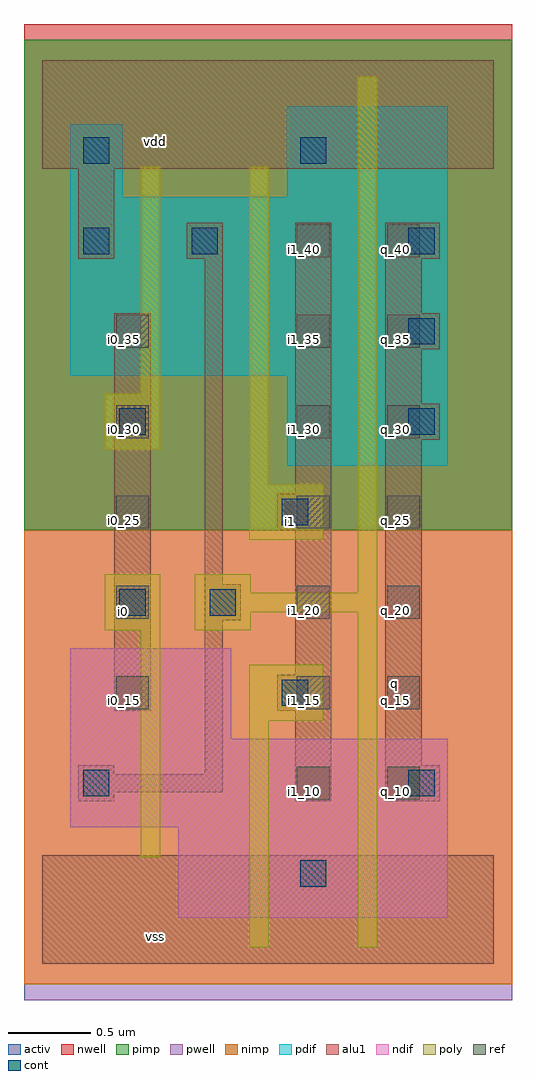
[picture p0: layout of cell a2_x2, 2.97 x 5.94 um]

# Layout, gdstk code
import gdstk
lib = gdstk.Library(unit=1e-6, precision=2.5e-09)
def R(c, l, rs):  # rectangles x0, y0, x1, y1
    for r in rs: c.add(gdstk.rectangle(r[:2], r[2:], *l))
def A(c, l, x, y, w, h, nx, ny, dx, dy):  # array of equal rectangles
    R(c, l, [(x+i*dx, y+j*dy, x+i*dx+w, y+j*dy+h) for i in range(nx) for j in range(ny)])
ndif = (3, 0)
pdif = (4, 0)
ref = (24, 0)
cont = (25, 0)
pwell = (41, 0)
nwell = (42, 0)
activ = (43, 0)
pimp = (44, 0)
nimp = (45, 0)
poly = (46, 0)
alu1 = (49, 0)

a2_x2 = lib.new_cell('a2_x2')
R(a2_x2, ndif, [(0.83,0.28,2.47,0.83), (0.83,0.28,2.47,0.83), (0.17,0.83,2.47,1.37), (0.17,0.83,2.47,1.37), (0.17,1.37,1.15,1.92), (0.17,1.37,1.15,1.92)])
R(a2_x2, pdif, [(1.49,3.03,2.47,3.58), (1.49,3.03,2.47,3.58), (0.17,3.58,2.47,4.67), (0.17,3.58,2.47,4.67), (0.17,4.67,0.49,5.11), (0.17,4.67,0.49,5.11), (1.49,4.67,2.47,5.22), (1.49,4.67,2.47,5.22)])
A(a2_x2, ref, 1.55, 1, 0.2, 0.2, 1, 7, 0, 0.55)
A(a2_x2, ref, 2.1, 1, 0.2, 0.2, 1, 7, 0, 0.55)
A(a2_x2, ref, 0.45, 1.55, 0.2, 0.2, 1, 5, 0, 0.55)
A(a2_x2, cont, 2.23, 3.22, 0.16, 0.16, 1, 3, 0, 0.55)
R(a2_x2, cont, [(1.57,0.47,1.73,0.63), (0.25,1.02,0.41,1.18), (2.23,1.02,2.39,1.18), (1.46,1.57,1.62,1.73), (0.47,2.12,0.63,2.28), (1.02,2.12,1.18,2.28), (1.46,2.67,1.62,2.83), (0.47,3.22,0.63,3.38), (0.25,4.32,0.41,4.48), (0.91,4.32,1.07,4.48), (0.25,4.87,0.41,5.03), (1.57,4.87,1.73,5.03)])
R(a2_x2, pwell, [(-0.11,-0.22,2.86,2.64)])
R(a2_x2, nwell, [(-0.11,2.64,2.86,5.72)])
R(a2_x2, activ, [(0.83,0.28,2.47,0.83), (0.83,0.28,2.47,0.83), (0.17,0.83,2.47,1.37), (0.17,0.83,2.47,1.37), (0.17,1.37,1.15,1.92), (0.17,1.37,1.15,1.92), (1.49,3.03,2.47,3.58), (1.49,3.03,2.47,3.58), (0.17,3.58,2.47,4.67), (0.17,3.58,2.47,4.67), (0.17,4.67,0.49,5.11), (0.17,4.67,0.49,5.11), (1.49,4.67,2.47,5.22), (1.49,4.67,2.47,5.22)])
R(a2_x2, pimp, [(-0.11,2.64,2.86,5.625)])
R(a2_x2, nimp, [(-0.11,-0.125,2.86,2.64)])
R(a2_x2, poly, [(1.26,0.1,1.38,1.48), (1.92,0.1,2.04,2.14), (0.6,0.65,0.72,2.03), (1.26,1.48,1.71,1.82), (0.38,2.03,0.72,2.37), (0.93,2.03,1.27,2.14), (0.93,2.14,2.04,2.26), (0.93,2.26,1.27,2.37), (1.92,2.26,2.04,5.4), (1.26,2.58,1.71,2.92), (1.26,2.92,1.38,4.85), (0.38,3.13,0.72,3.47), (0.6,3.47,0.72,4.85)])
A(a2_x2, alu1, 2.09, 3.19, 0.33, 0.22, 1, 3, 0, 0.55)
R(a2_x2, alu1, [(0,0,2.75,0.66), (0.22,0.99,0.44,1.045), (1.54,0.99,1.76,1.54), (2.09,0.99,2.42,1.21), (0.22,1.045,1.1,1.155), (0.22,1.155,0.44,1.21), (0.99,1.155,1.1,2.09), (2.09,1.21,2.31,3.19), (0.44,1.54,0.66,3.96), (1.43,1.54,1.76,1.76), (1.54,1.76,1.76,2.64), (0.99,2.09,1.21,2.31), (0.99,2.31,1.1,4.29), (1.43,2.64,1.76,2.86), (1.54,2.86,1.76,4.51), (2.09,3.41,2.31,3.74), (2.09,3.96,2.31,4.29), (0.22,4.29,0.44,4.84), (0.88,4.29,1.1,4.51), (0,4.84,2.75,5.5)])
a2_x2.add(gdstk.Label('vss', (0.6875,0.165), layer=49, texttype=0))
a2_x2.add(gdstk.Label('q', (2.145,1.705), layer=49, texttype=0))
a2_x2.add(gdstk.Label('i1', (1.5125,2.695), layer=49, texttype=0))
a2_x2.add(gdstk.Label('i0', (0.495,2.145), layer=49, texttype=0))
a2_x2.add(gdstk.Label('vdd', (0.6875,5.005), layer=49, texttype=0))
a2_x2.add(gdstk.Label('i1_40', (1.6,4.35), layer=24, texttype=0))
a2_x2.add(gdstk.Label('i1_35', (1.6,3.8), layer=24, texttype=0))
a2_x2.add(gdstk.Label('i1_30', (1.6,3.25), layer=24, texttype=0))
a2_x2.add(gdstk.Label('i1_25', (1.6,2.7), layer=24, texttype=0))
a2_x2.add(gdstk.Label('i1_20', (1.6,2.15), layer=24, texttype=0))
a2_x2.add(gdstk.Label('i1_15', (1.6,1.6), layer=24, texttype=0))
a2_x2.add(gdstk.Label('i1_10', (1.6,1.05), layer=24, texttype=0))
a2_x2.add(gdstk.Label('i0_15', (0.5,1.6), layer=24, texttype=0))
a2_x2.add(gdstk.Label('i0_20', (0.5,2.15), layer=24, texttype=0))
a2_x2.add(gdstk.Label('i0_25', (0.5,2.7), layer=24, texttype=0))
a2_x2.add(gdstk.Label('i0_30', (0.5,3.25), layer=24, texttype=0))
a2_x2.add(gdstk.Label('i0_35', (0.5,3.8), layer=24, texttype=0))
a2_x2.add(gdstk.Label('q_25', (2.15,2.7), layer=24, texttype=0))
a2_x2.add(gdstk.Label('q_30', (2.15,3.25), layer=24, texttype=0))
a2_x2.add(gdstk.Label('q_35', (2.15,3.8), layer=24, texttype=0))
a2_x2.add(gdstk.Label('q_40', (2.15,4.35), layer=24, texttype=0))
a2_x2.add(gdstk.Label('q_10', (2.15,1.05), layer=24, texttype=0))
a2_x2.add(gdstk.Label('q_15', (2.15,1.6), layer=24, texttype=0))
a2_x2.add(gdstk.Label('q_20', (2.15,2.15), layer=24, texttype=0))

lib.write_gds('a2_x2.gds')
